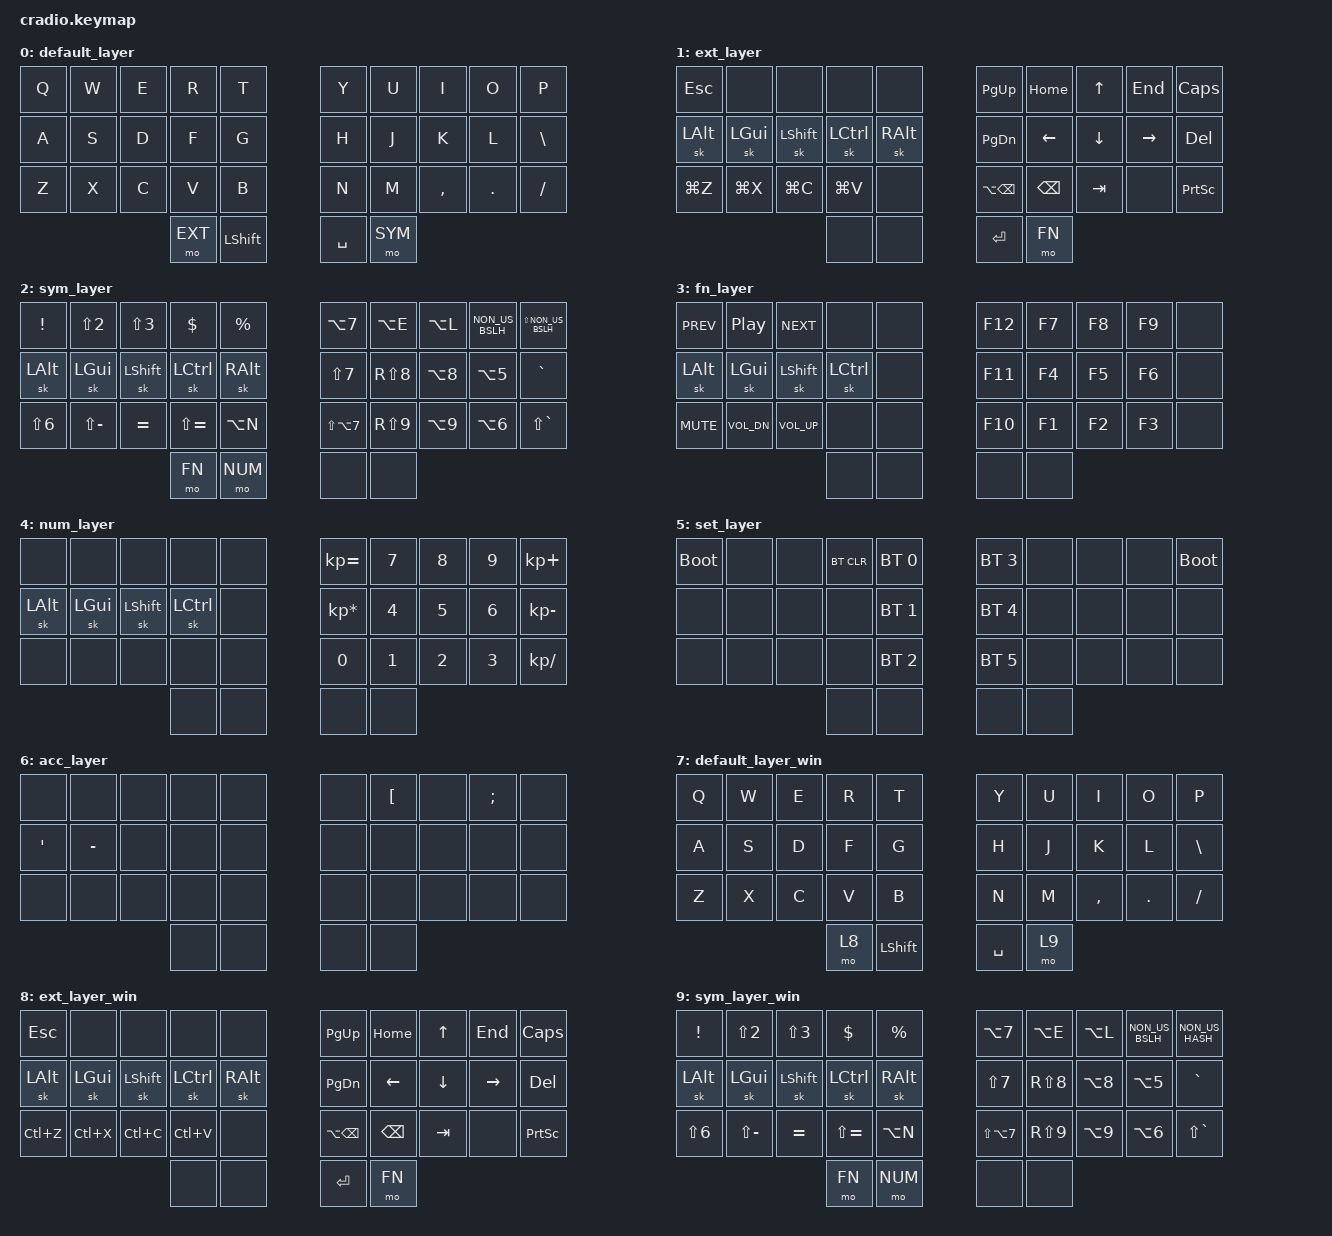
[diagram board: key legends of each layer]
// Copyright (c) 2022 The ZMK Contributors
// SPDX-License-Identifier: MIT

#include <behaviors.dtsi>
#include <dt-bindings/zmk/bt.h>
#include <dt-bindings/zmk/keys.h>

// Layer definitions

#define BASE 0
#define EXT 1
#define SYM 2
#define FN 3
#define NUM 4
#define SET 5

/ {
    combos {
        compatible = "zmk,combos";

        // both right thumb keys

        combo_set {
            timeout-ms = <300>;
            key-positions = <32 33>;
            bindings = <&mo SET>;
        };

        combo_acc {
            bindings = <&mo 6>;
            key-positions = <30 31>;
            timeout-ms = <300>;
        };
    };

    keymap {
        compatible = "zmk,keymap";

        default_layer {
            bindings = <
&kp Q  &kp W  &kp E  &kp R    &kp T         &kp Y      &kp U    &kp I      &kp O    &kp P
&kp A  &kp S  &kp D  &kp F    &kp G         &kp H      &kp J    &kp K      &kp L    &kp BACKSLASH
&kp Z  &kp X  &kp C  &kp V    &kp B         &kp N      &kp M    &kp COMMA  &kp DOT  &kp FSLH
                     &mo EXT  &kp LSHIFT    &kp SPACE  &mo SYM
            >;
        };

        ext_layer {
            bindings = <
&kp ESC    &none      &none       &none      &none       &kp PG_UP     &kp HOME  &kp UP    &kp END    &kp CAPSLOCK
&sk LALT   &sk LGUI   &sk LSHIFT  &sk LCTRL  &sk RALT    &kp PG_DN     &kp LEFT  &kp DOWN  &kp RIGHT  &kp DEL
&kp LG(Z)  &kp LG(X)  &kp LG(C)   &kp LG(V)  &none       &kp LA(BSPC)  &kp BSPC  &kp TAB   &none      &kp PSCRN
                                  &none      &none       &kp ENTER     &mo FN
            >;
        };

        sym_layer {
            bindings = <
&kp EXCL          &kp LS(NUMBER_2)  &kp LS(NUMBER_3)  &kp DLLR       &kp PRCNT    &kp LA(N7)      &kp LA(E)   &kp LA(L)   &kp NON_US_BSLH   &kp LS(NON_US_BSLH)
&sk LALT          &sk LGUI          &sk LSHIFT        &sk LCTRL      &sk RALT     &kp LS(N7)      &kp RS(N8)  &kp LA(N8)  &kp LA(N5)        &kp GRAVE
&kp LS(NUMBER_6)  &kp LS(MINUS)     &kp EQUAL         &kp LS(EQUAL)  &kp LA(N)    &kp LS(LA(N7))  &kp RS(N9)  &kp LA(N9)  &kp LA(NUMBER_6)  &kp LS(GRAVE)
                                                      &mo FN         &mo NUM      &none           &none
            >;
        };

        fn_layer {
            bindings = <
&kp C_PREV  &kp C_PP      &kp C_NEXT       &none      &none    &kp F12  &kp F7  &kp F8  &kp F9  &none
&sk LALT    &sk LGUI      &sk LSHIFT       &sk LCTRL  &none    &kp F11  &kp F4  &kp F5  &kp F6  &none
&kp C_MUTE  &kp C_VOL_DN  &kp C_VOLUME_UP  &none      &none    &kp F10  &kp F1  &kp F2  &kp F3  &none
                                           &none      &none    &none    &none
            >;
        };

        num_layer {
            bindings = <
&none     &none     &none       &none      &none    &kp KP_EQUAL     &kp N7  &kp N8  &kp N9  &kp KP_PLUS
&sk LALT  &sk LGUI  &sk LSHIFT  &sk LCTRL  &none    &kp KP_MULTIPLY  &kp N4  &kp N5  &kp N6  &kp KP_MINUS
&none     &none     &none       &none      &none    &kp N0           &kp N1  &kp N2  &kp N3  &kp KP_DIVIDE
                                &none      &none    &none            &none
            >;
        };

        set_layer {
            bindings = <
&bootloader  &none  &none  &bt BT_CLR  &bt BT_SEL 0    &bt BT_SEL 3  &none  &none  &none  &bootloader
&none        &none  &none  &none       &bt BT_SEL 1    &bt BT_SEL 4  &none  &none  &none  &none
&none        &none  &none  &none       &bt BT_SEL 2    &bt BT_SEL 5  &none  &none  &none  &none
                           &none       &none           &none         &none
            >;
        };

        acc_layer {
            bindings = <
&none             &none      &none  &none  &none    &none  &kp LBKT  &none  &kp SEMI  &none
&kp SINGLE_QUOTE  &kp MINUS  &none  &none  &none    &none  &none     &none  &none     &none
&none             &none      &none  &none  &none    &none  &none     &none  &none     &none
                                    &none  &none    &none  &none
            >;
        };

        default_layer_win {
            bindings = <
&kp Q  &kp W  &kp E  &kp R  &kp T         &kp Y      &kp U  &kp I      &kp O    &kp P
&kp A  &kp S  &kp D  &kp F  &kp G         &kp H      &kp J  &kp K      &kp L    &kp BACKSLASH
&kp Z  &kp X  &kp C  &kp V  &kp B         &kp N      &kp M  &kp COMMA  &kp DOT  &kp FSLH
                     &mo 8  &kp LSHIFT    &kp SPACE  &mo 9
            >;
        };

        ext_layer_win {
            bindings = <
&kp ESC    &none      &none       &none      &none       &kp PG_UP     &kp HOME  &kp UP    &kp END    &kp CAPSLOCK
&sk LALT   &sk LGUI   &sk LSHIFT  &sk LCTRL  &sk RALT    &kp PG_DN     &kp LEFT  &kp DOWN  &kp RIGHT  &kp DEL
&kp LC(Z)  &kp LC(X)  &kp LC(C)   &kp LC(V)  &none       &kp LA(BSPC)  &kp BSPC  &kp TAB   &none      &kp PSCRN
                                  &none      &none       &kp ENTER     &mo FN
            >;
        };

        sym_layer_win {
            bindings = <
&kp EXCL          &kp LS(NUMBER_2)  &kp LS(NUMBER_3)  &kp DLLR       &kp PRCNT    &kp LA(N7)      &kp LA(E)   &kp LA(L)   &kp NON_US_BSLH   &kp NON_US_HASH
&sk LALT          &sk LGUI          &sk LSHIFT        &sk LCTRL      &sk RALT     &kp LS(N7)      &kp RS(N8)  &kp LA(N8)  &kp LA(N5)        &kp GRAVE
&kp LS(NUMBER_6)  &kp LS(MINUS)     &kp EQUAL         &kp LS(EQUAL)  &kp LA(N)    &kp LS(LA(N7))  &kp RS(N9)  &kp LA(N9)  &kp LA(NUMBER_6)  &kp LS(GRAVE)
                                                      &mo FN         &mo NUM      &none           &none
            >;
        };
    };
};
